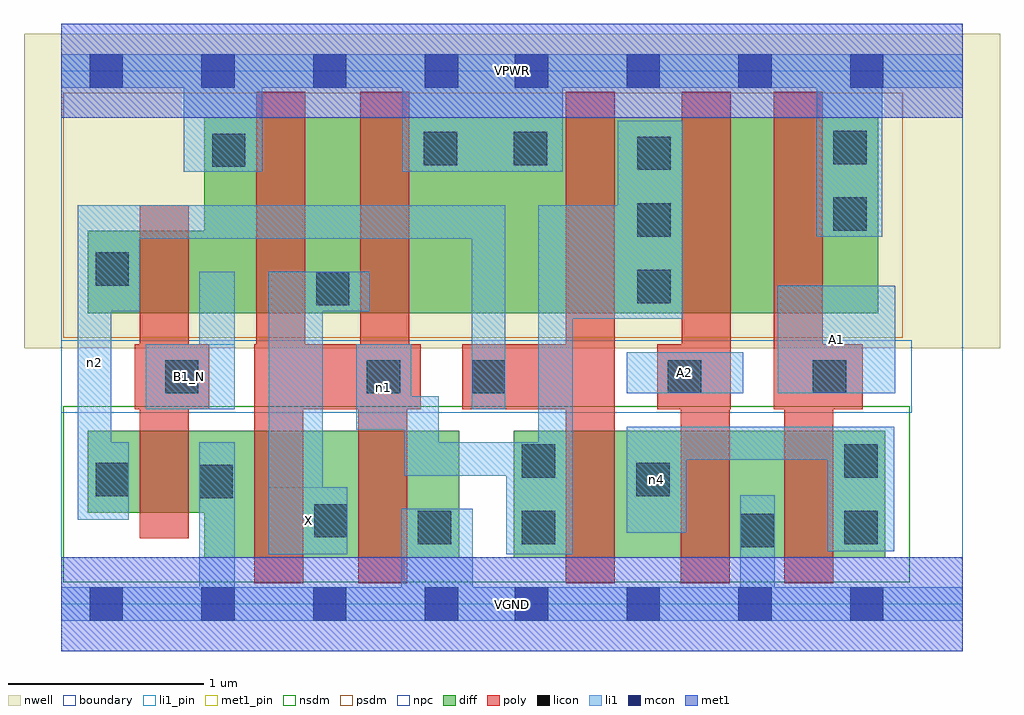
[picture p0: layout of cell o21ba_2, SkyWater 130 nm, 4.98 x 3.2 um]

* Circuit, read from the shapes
.subckt o21ba_2 A1 A2 B1_N VGND VPWR X n1 n2 n4
XM1 VGND B1_N n2 VSUBS sky130_fd_pr__nfet_01v8 w=0.42 l=0.25
XM2 X n1 VGND VSUBS sky130_fd_pr__nfet_01v8 w=0.65 l=0.25 m=2
XM3 n4 n2 n1 VSUBS sky130_fd_pr__nfet_01v8 w=0.65 l=0.25
XM4 VGND A2 n4 VSUBS sky130_fd_pr__nfet_01v8 w=0.65 l=0.25
XM5 n4 A1 VGND VSUBS sky130_fd_pr__nfet_01v8 w=0.65 l=0.25
XM6 VPWR B1_N n2 n3 sky130_fd_pr__pfet_01v8 w=0.42 l=0.25
XM7 X n1 VPWR n3 sky130_fd_pr__pfet_01v8 w=1 l=0.25 m=2
XM8 n1 n2 VPWR n3 sky130_fd_pr__pfet_01v8 w=1 l=0.25
XM9 n5 A2 n1 n3 sky130_fd_pr__pfet_01v8 w=1 l=0.25
XM10 VPWR A1 n5 n3 sky130_fd_pr__pfet_01v8 w=1 l=0.25
.ends

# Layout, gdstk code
import gdstk
lib = gdstk.Library(unit=1e-6, precision=1e-09)
def R(c, l, rs):  # rectangles x0, y0, x1, y1
    for r in rs: c.add(gdstk.rectangle(r[:2], r[2:], *l))
def A(c, l, x, y, w, h, nx, ny, dx, dy):  # array of equal rectangles
    R(c, l, [(x+i*dx, y+j*dy, x+i*dx+w, y+j*dy+h) for i in range(nx) for j in range(ny)])
nwell = (64, 20)
diff = (65, 20)
poly = (66, 20)
licon = (66, 44)
li1_pin = (67, 16)
li1 = (67, 20)
mcon = (67, 44)
met1_pin = (68, 16)
met1 = (68, 20)
nsdm = (93, 44)
psdm = (94, 20)
npc = (95, 20)
boundary = (235, 4)

o21ba_2 = lib.new_cell('o21ba_2')
R(o21ba_2, nwell, [(-0.19,1.305,4.79,2.91), (0,1.305,4.6,2.91)])
R(o21ba_2, diff, [(0.73,0.235,2.03,0.885), (2.31,0.235,4.205,0.885), (0.135,0.465,2.03,0.885), (0.135,1.485,4.17,1.905), (0.73,1.485,4.17,2.485)])
R(o21ba_2, poly, [(0.985,0.105,1.235,1.325), (1.515,0.105,1.765,1.325), (2.575,0.105,2.825,2.615), (3.16,0.105,3.41,1.325), (3.69,0.105,3.94,1.325), (0.4,0.335,0.65,2.035), (0.375,0.995,0.755,1.325), (0.985,0.995,1.835,1.325), (0.995,0.995,1.245,2.615), (1.525,0.995,1.775,2.615), (2.045,0.995,2.825,1.325), (3.04,0.995,3.415,1.325), (3.165,0.995,3.415,2.615), (3.635,0.995,3.885,2.615), (3.635,0.995,4.09,1.325)])
A(o21ba_2, licon, 2.94, 1.535, 0.17, 0.17, 1, 3, 0, 0.34)
R(o21ba_2, licon, [(3.465,0.29,3.635,0.46), (1.82,0.305,1.99,0.475), (2.35,0.305,2.52,0.475), (3.995,0.305,4.165,0.475), (1.29,0.34,1.46,0.51), (0.705,0.54,0.875,0.71), (0.175,0.55,0.345,0.72), (2.935,0.55,3.105,0.72), (2.35,0.645,2.52,0.815), (3.995,0.645,4.165,0.815), (0.53,1.075,0.7,1.245), (1.56,1.075,1.73,1.245), (2.095,1.075,2.265,1.245), (3.095,1.075,3.265,1.245), (3.835,1.075,4.005,1.245), (1.3,1.525,1.47,1.695), (0.175,1.625,0.345,1.795), (3.94,1.905,4.11,2.075), (0.77,2.23,0.94,2.4), (1.85,2.24,2.02,2.41), (2.31,2.24,2.48,2.41), (3.94,2.245,4.11,2.415)])
R(o21ba_2, li1_pin, [(1.06,0.255,1.46,0.595), (0.43,0.995,0.885,1.325), (2.885,1.075,3.48,1.285), (3.655,1.075,4.255,1.625)])
R(o21ba_2, li1, [(0,-0.085,4.6,0.085), (0.705,-0.085,0.885,0.825), (1.735,-0.085,2.1,0.485), (3.465,-0.085,3.64,0.555), (1.06,0.255,1.335,1.695), (1.06,0.255,1.46,0.595), (2.27,0.255,2.61,0.825), (2.435,0.255,2.61,2.035), (3.91,0.27,4.25,0.905), (2.885,0.365,3.19,0.905), (0.085,0.43,0.255,2.035), (0.085,0.43,0.345,0.825), (1.75,0.655,2.61,0.825), (1.75,0.655,1.925,1.06), (2.885,0.735,4.25,0.905), (1.505,0.89,1.785,1.325), (0.43,0.995,0.885,1.325), (0.705,0.995,0.885,1.695), (2.095,0.995,2.265,2.035), (2.885,1.075,3.48,1.285), (3.655,1.075,4.255,1.625), (2.435,1.455,3.17,2.035), (2.84,1.455,3.17,2.465), (0.085,1.495,0.4,2.035), (1.06,1.495,1.575,1.695), (0.085,1.865,2.265,2.035), (3.855,1.875,4.19,2.805), (0.625,2.205,1.025,2.805), (1.74,2.205,2.56,2.805), (0,2.635,4.6,2.805)])
A(o21ba_2, mcon, 0.145, -0.085, 0.17, 0.17, 4, 2, 0.57, 2.72)
A(o21ba_2, mcon, 2.315, -0.085, 0.17, 0.17, 4, 2, 0.57, 2.72)
R(o21ba_2, met1_pin, [(0,-0.24,4.6,0.24), (0,2.48,4.6,2.96)])
R(o21ba_2, met1, [(0,-0.24,4.6,0.24), (0,2.48,4.6,2.96)])
R(o21ba_2, nsdm, [(0.01,0.11,4.33,1.01)])
R(o21ba_2, psdm, [(0.01,1.36,4.295,2.61)])
R(o21ba_2, npc, [(0,0.975,4.34,1.345)])
R(o21ba_2, boundary, [(0,0,4.6,2.72)])
o21ba_2.add(gdstk.Label('A1', (3.955,1.35), layer=67, texttype=5))
o21ba_2.add(gdstk.Label('A2', (3.182,1.18), layer=67, texttype=5))
o21ba_2.add(gdstk.Label('B1_N', (0.657,1.16), layer=67, texttype=5))
o21ba_2.add(gdstk.Label('X', (1.26,0.425), layer=67, texttype=5))
o21ba_2.add(gdstk.Label('n4', (3.037,0.635), layer=67, texttype=5))
o21ba_2.add(gdstk.Label('n2', (0.17,1.232), layer=67, texttype=5))
o21ba_2.add(gdstk.Label('n1', (1.645,1.107), layer=67, texttype=5))
o21ba_2.add(gdstk.Label('VPWR', (2.3,2.72), layer=68, texttype=5))
o21ba_2.add(gdstk.Label('VGND', (2.3,0), layer=68, texttype=5))
o21ba_2.add(gdstk.Label('A1', (3.955,1.35), layer=67, texttype=16))
o21ba_2.add(gdstk.Label('A2', (3.182,1.18), layer=67, texttype=16))
o21ba_2.add(gdstk.Label('B1_N', (0.657,1.16), layer=67, texttype=16))
o21ba_2.add(gdstk.Label('X', (1.26,0.425), layer=67, texttype=16))
o21ba_2.add(gdstk.Label('VPWR', (2.3,2.72), layer=68, texttype=16))
o21ba_2.add(gdstk.Label('VGND', (2.3,0), layer=68, texttype=16))

lib.write_gds('o21ba_2.gds')
